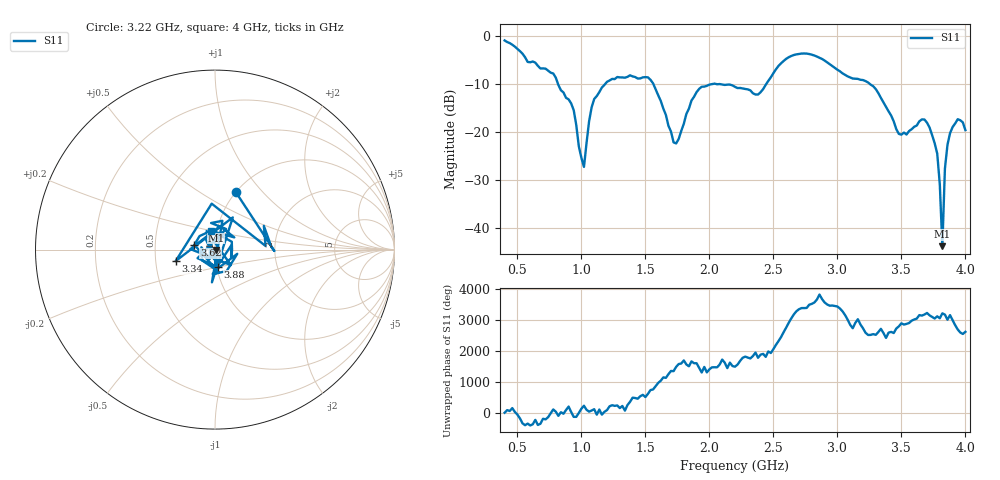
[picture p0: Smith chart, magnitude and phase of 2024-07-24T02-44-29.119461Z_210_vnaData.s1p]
!Created with skrf (http://scikit-rf.org).
# Hz S RI R 50.0
!freq ReS11 ImS11
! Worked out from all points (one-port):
!   181 points, 400 MHz to 4 GHz, reference 50 ohm
!   lowest |S11| = -43.7 dB at 3.82 GHz (marker M1), VSWR 1.01, Z = 50.6 - j0.252 ohm
!   |S11| at or under -10 dB: 818.5 MHz to 1.183 GHz (364.3 MHz wide, 36.4 % of centre); 1.564 GHz to 2.008 GHz (444 MHz wide, 24.9 % of centre); 3.258 GHz to end of sweep (the widest 3 of 4)
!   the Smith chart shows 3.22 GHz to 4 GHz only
!   S11 on the Smith chart (normalised r, x): 3.22 GHz: 0.99, +0.73; 3.34 GHz: 0.64, -0.09; 3.62 GHz: 0.79, +0.04; 3.88 GHz: 1.01, -0.20; 4 GHz: 0.94, +0.20
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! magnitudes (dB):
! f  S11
! 400 MHz  -0.8
! 860 MHz  -11.7
! 940 MHz  -15.4
! 1.02 GHz  -27.2
! 1.06 GHz  -17.7
! 1.1 GHz  -13.0
! 1.3 GHz  -8.5
! 1.54 GHz  -9.0
! 1.72 GHz  -22.1
! 1.76 GHz  -21.4
! 1.92 GHz  -10.9
! 2.2 GHz  -10.5
! 2.38 GHz  -12.1
! 2.66 GHz  -3.9
! 3.1 GHz  -8.5
! 3.22 GHz  -9.3
! 3.34 GHz  -12.8
! 3.48 GHz  -20.3
! 3.56 GHz  -19.7
! 3.62 GHz  -18.6
! 3.7 GHz  -18.0
! 3.78 GHz  -24.4
! 3.8 GHz  -30.8
! 3.82 GHz  -43.7
! 3.84 GHz  -27.6
! 3.88 GHz  -20.2
! 3.94 GHz  -17.3
! 4 GHz  -19.5
